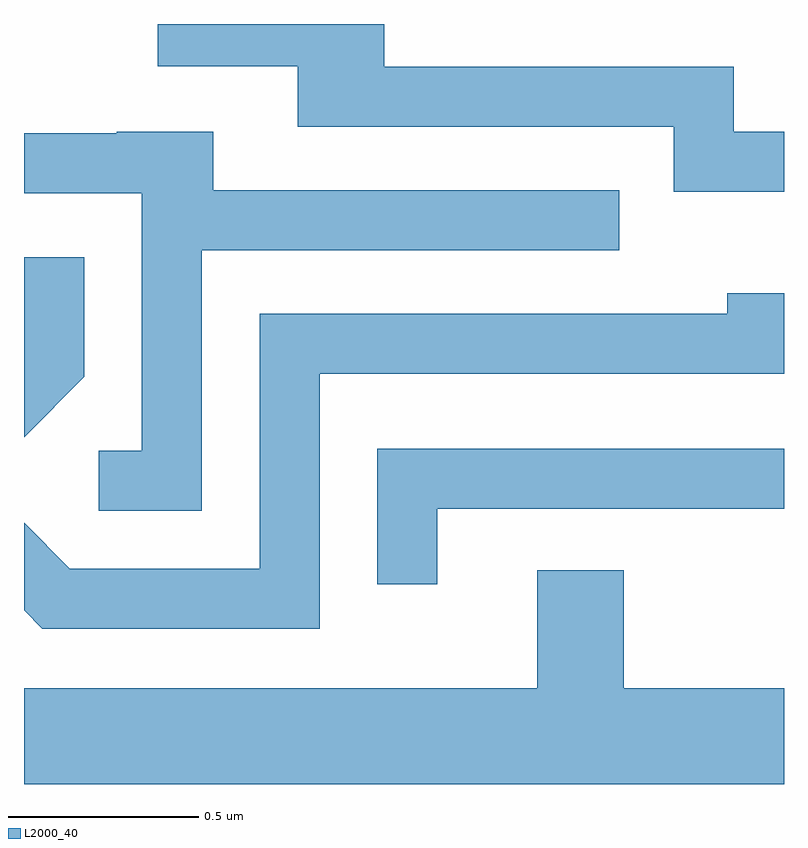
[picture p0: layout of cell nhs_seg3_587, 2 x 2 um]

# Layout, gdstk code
import gdstk
lib = gdstk.Library(unit=1e-6, precision=1e-09)
def P(c, l, *ps):  # polygons
    for p in ps: c.add(gdstk.Polygon(p, *l))
L2000_40 = (2000, 40)

nhs_seg3_587 = lib.new_cell('nhs_seg3_587')
P(nhs_seg3_587, L2000_40, [(191.611,1156.609),(191.479,1156.609),(191.479,1156.779),(190.559,1156.779),(190.559,1156.892),(189.963,1156.892),(189.963,1156.781),(190.331,1156.781),(190.331,1156.621),(191.321,1156.621),(191.321,1156.451),(191.611,1156.451)],
  [(190.079,1156.296),(191.178,1156.296),(191.178,1156.454),(190.109,1156.454),(190.109,1156.609),(189.855,1156.609),(189.855,1156.604),(189.611,1156.604),(189.611,1156.446),(189.921,1156.446),(189.921,1155.769),(189.808,1155.769),(189.808,1155.611),(190.079,1155.611)],
  [(189.769,1155.964),(189.769,1156.278),(189.611,1156.278),(189.611,1155.805)],
  [(190.389,1155.971),(191.611,1155.971),(191.611,1156.184),(191.461,1156.184),(191.461,1156.129),(190.231,1156.129),(190.231,1155.459),(189.732,1155.459),(189.611,1155.58),(189.611,1155.349),(189.659,1155.301),(190.389,1155.301)],
  [(190.699,1155.616),(191.611,1155.616),(191.611,1155.774),(190.541,1155.774),(190.541,1155.418),(190.699,1155.418)],
  [(191.611,1155.144),(191.189,1155.144),(191.189,1155.454),(190.961,1155.454),(190.961,1155.144),(189.611,1155.144),(189.611,1154.892),(191.611,1154.892)])

lib.write_gds('nhs_seg3_587.gds')
